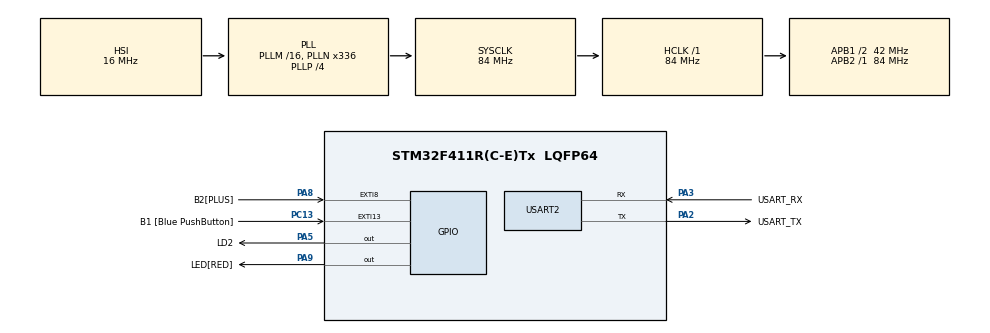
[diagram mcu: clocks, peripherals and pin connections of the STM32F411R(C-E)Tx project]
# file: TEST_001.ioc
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Mcu.Family=STM32F4
Mcu.Name=STM32F411R(C-E)Tx
Mcu.Package=LQFP64
NVIC.EXTI15_10_IRQn=true\:0\:0\:false\:false\:true\:true\:true\:true
NVIC.EXTI9_5_IRQn=true\:0\:0\:false\:false\:true\:true\:true\:true
NVIC.PriorityGroup=NVIC_PRIORITYGROUP_0
PA13.GPIO_Label=TMS
PA13.Mode=Serial_Wire
PA13.Signal=SYS_JTMS-SWDIO
PA14.GPIO_Label=TCK
PA14.Mode=Serial_Wire
PA14.Signal=SYS_JTCK-SWCLK
PA2.GPIO_Label=USART_TX
PA2.Mode=Asynchronous
PA2.Signal=USART2_TX
PA3.GPIO_Label=USART_RX
PA3.Mode=Asynchronous
PA3.Signal=USART2_RX
PA5.GPIO_Label=LD2 
PA5.Signal=GPIO_Output
PA8.GPIO_Label=B2[PLUS]
PA8.Signal=GPXTI8
PA9.GPIO_Label=LED[RED]
PA9.Signal=GPIO_Output
PB3.GPIO_Label=SWO
PB3.Signal=SYS_JTDO-SWO
PC13-ANTI_TAMP.GPIO_Label=B1 [Blue PushButton]
PC13-ANTI_TAMP.GPIO_ModeDefaultEXTI=GPIO_MODE_IT_RISING
PC13-ANTI_TAMP.Signal=GPXTI13
PC14-OSC32_IN.Mode=LSE-External-Oscillator
PC14-OSC32_IN.Signal=RCC_OSC32_IN
PC15-OSC32_OUT.Mode=LSE-External-Oscillator
PC15-OSC32_OUT.Signal=RCC_OSC32_OUT
PH0\ -\ OSC_IN.Mode=HSE-External-Clock-Source
PH0\ -\ OSC_IN.Signal=RCC_OSC_IN
PH1\ -\ OSC_OUT.Mode=HSE-External-Clock-Source
PH1\ -\ OSC_OUT.Signal=RCC_OSC_OUT
ProjectManager.HeapSize=0x200
ProjectManager.StackSize=0x400
ProjectManager.TargetToolchain=STM32CubeIDE
RCC.48MHZClocksFreq_Value=84000000
RCC.AHBFreq_Value=84000000
RCC.APB1CLKDivider=RCC_HCLK_DIV2
RCC.APB1Freq_Value=42000000
RCC.APB1TimFreq_Value=84000000
RCC.APB2Freq_Value=84000000
RCC.APB2TimFreq_Value=84000000
RCC.CortexFreq_Value=84000000
RCC.FLatency-AdvancedSettings=FLASH_LATENCY_2
RCC.HCLKFreq_Value=84000000
RCC.HSE_VALUE=8000000
RCC.HSI_VALUE=16000000
RCC.PLLN=336
RCC.PLLP=RCC_PLLP_DIV4
RCC.SYSCLKFreq_VALUE=84000000
RCC.SYSCLKSource=RCC_SYSCLKSOURCE_PLLCLK
RCC.VCOOutputFreq_Value=336000000
USART2.VirtualMode=VM_ASYNC
board=NUCLEO-F411RE

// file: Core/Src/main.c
/* USER CODE BEGIN Header */
/**
  ******************************************************************************
  * @file           : main.c
  * @brief          : Main program body
  ******************************************************************************
  * @attention
  *
  * Copyright (c) 2024 STMicroelectronics.
  * All rights reserved.
  *
  * This software is licensed under terms that can be found in the LICENSE file
  * in the root directory of this software component.
  * If no LICENSE file comes with this software, it is provided AS-IS.
  *
  ******************************************************************************
  */
/* USER CODE END Header */
#include "main.h"

/* USER CODE BEGIN Includes */
#include <stdio.h>
/* USER CODE END Includes */

UART_HandleTypeDef huart2;

void SystemClock_Config(void);
static void MX_GPIO_Init(void);
static void MX_USART2_UART_Init(void);

/* USER CODE BEGIN 0 */
void StandBy()
{
	while(HAL_GPIO_ReadPin(B1_GPIO_Port, B1_Pin));
}
int mode = 0; // mode = 0 : STOP, mode - 1 : Plash
volatile int speed = 1000;
void HAL_GPIO_EXTI_Callback(uint16_t GPIO_Pin)	//External Interrupt IST
{
	//if(!HAL_GPIO_ReadPin(B1_GPIO_Port, B1_Pin))
		switch(GPIO_Pin) {
			case B1_Pin:
				if(mode == 0) mode = 1; else mode = 0;
			break;

			case B2_Pin:
				speed = speed - 100;
				if(speed < 100) speed = 1000;
			break;
		}

}
/* USER CODE END 0 */

int main(void)
{

  /* MCU Configuration--------------------------------------------------------*/

  /* Reset of all peripherals, Initializes the Flash interface and the Systick. */
  HAL_Init();

  /* Configure the system clock */
  SystemClock_Config();

  /* Initialize all configured peripherals */
  MX_GPIO_Init();
  MX_USART2_UART_Init();
  /* USER CODE BEGIN 2 */

  //HAL_GPIO_WritePin(LD2_GPIO_Port, LD2_Pin, 1);
  //HAL_Delay(2000);	// mill_sec
  //HAL_GPIO_WritePin(LD2_GPIO_Port, LD2_Pin, 0);
  //HAL_GPIO_WritePin(GPIOA, GPIO_PIN_5, 1);	//PA5 : GPIOA / 5_
  //StandBy();

  /* USER CODE END 2 */

  /* Infinite loop */
  /* USER CODE BEGIN WHILE */

  while (1)
  {
	  if(mode)
	  {
		  HAL_GPIO_WritePin(LD2_GPIO_Port, LD2_Pin, 1);
		  HAL_Delay(500);	// mill_sec
		  HAL_GPIO_WritePin(LD2_GPIO_Port, LD2_Pin, 0);
		  HAL_Delay(500);	// mill_sec
		  HAL_GPIO_WritePin(LED_GPIO_Port, LED_Pin, 1);
		  HAL_Delay(speed);	// mill_sec
		  HAL_GPIO_WritePin(LED_GPIO_Port, LED_Pin, 0);
		  HAL_Delay(speed);	// mill_sec
	  }

    /* USER CODE END WHILE */

  }
}

void SystemClock_Config(void)
{
  RCC_OscInitTypeDef RCC_OscInitStruct = {0};
  RCC_ClkInitTypeDef RCC_ClkInitStruct = {0};

  /** Configure the main internal regulator output voltage
  */
  __HAL_RCC_PWR_CLK_ENABLE();
  __HAL_PWR_VOLTAGESCALING_CONFIG(PWR_REGULATOR_VOLTAGE_SCALE1);

  /** Initializes the RCC Oscillators according to the specified parameters
  * in the RCC_OscInitTypeDef structure.
  */
  RCC_OscInitStruct.OscillatorType = RCC_OSCILLATORTYPE_HSI;
  RCC_OscInitStruct.HSIState = RCC_HSI_ON;
  RCC_OscInitStruct.HSICalibrationValue = RCC_HSICALIBRATION_DEFAULT;
  RCC_OscInitStruct.PLL.PLLState = RCC_PLL_ON;
  RCC_OscInitStruct.PLL.PLLSource = RCC_PLLSOURCE_HSI;
  RCC_OscInitStruct.PLL.PLLM = 16;
  RCC_OscInitStruct.PLL.PLLN = 336;
  RCC_OscInitStruct.PLL.PLLP = RCC_PLLP_DIV4;
  RCC_OscInitStruct.PLL.PLLQ = 4;
  if (HAL_RCC_OscConfig(&RCC_OscInitStruct) != HAL_OK)
  {
    Error_Handler();
  }

  /** Initializes the CPU, AHB and APB buses clocks
  */
  RCC_ClkInitStruct.ClockType = RCC_CLOCKTYPE_HCLK|RCC_CLOCKTYPE_SYSCLK
                              |RCC_CLOCKTYPE_PCLK1|RCC_CLOCKTYPE_PCLK2;
  RCC_ClkInitStruct.SYSCLKSource = RCC_SYSCLKSOURCE_PLLCLK;
  RCC_ClkInitStruct.AHBCLKDivider = RCC_SYSCLK_DIV1;
  RCC_ClkInitStruct.APB1CLKDivider = RCC_HCLK_DIV2;
  RCC_ClkInitStruct.APB2CLKDivider = RCC_HCLK_DIV1;

  if (HAL_RCC_ClockConfig(&RCC_ClkInitStruct, FLASH_LATENCY_2) != HAL_OK)
  {
    Error_Handler();
  }
}

static void MX_USART2_UART_Init(void)
{

  huart2.Instance = USART2;
  huart2.Init.BaudRate = 115200;
  huart2.Init.WordLength = UART_WORDLENGTH_8B;
  huart2.Init.StopBits = UART_STOPBITS_1;
  huart2.Init.Parity = UART_PARITY_NONE;
  huart2.Init.Mode = UART_MODE_TX_RX;
  huart2.Init.HwFlowCtl = UART_HWCONTROL_NONE;
  huart2.Init.OverSampling = UART_OVERSAMPLING_16;
  if (HAL_UART_Init(&huart2) != HAL_OK)
  {
    Error_Handler();
  }

}

static void MX_GPIO_Init(void)
{
  GPIO_InitTypeDef GPIO_InitStruct = {0};

  /* GPIO Ports Clock Enable */
  __HAL_RCC_GPIOC_CLK_ENABLE();
  __HAL_RCC_GPIOH_CLK_ENABLE();
  __HAL_RCC_GPIOA_CLK_ENABLE();
  __HAL_RCC_GPIOB_CLK_ENABLE();

  /*Configure GPIO pin Output Level */
  HAL_GPIO_WritePin(GPIOA, LD2_Pin|LED_Pin, GPIO_PIN_RESET);

  /*Configure GPIO pin : B1_Pin */
  GPIO_InitStruct.Pin = B1_Pin;
  GPIO_InitStruct.Mode = GPIO_MODE_IT_RISING;
  GPIO_InitStruct.Pull = GPIO_NOPULL;
  HAL_GPIO_Init(B1_GPIO_Port, &GPIO_InitStruct);

  /*Configure GPIO pins : LD2_Pin LED_Pin */
  GPIO_InitStruct.Pin = LD2_Pin|LED_Pin;
  GPIO_InitStruct.Mode = GPIO_MODE_OUTPUT_PP;
  GPIO_InitStruct.Pull = GPIO_NOPULL;
  GPIO_InitStruct.Speed = GPIO_SPEED_FREQ_LOW;
  HAL_GPIO_Init(GPIOA, &GPIO_InitStruct);

  /*Configure GPIO pin : B2_Pin */
  GPIO_InitStruct.Pin = B2_Pin;
  GPIO_InitStruct.Mode = GPIO_MODE_IT_RISING;
  GPIO_InitStruct.Pull = GPIO_NOPULL;
  HAL_GPIO_Init(B2_GPIO_Port, &GPIO_InitStruct);

  /* EXTI interrupt init*/
  HAL_NVIC_SetPriority(EXTI9_5_IRQn, 0, 0);
  HAL_NVIC_EnableIRQ(EXTI9_5_IRQn);

  HAL_NVIC_SetPriority(EXTI15_10_IRQn, 0, 0);
  HAL_NVIC_EnableIRQ(EXTI15_10_IRQn);

}

void Error_Handler(void)
{
  __disable_irq();
  while (1)
  {
  }
}
